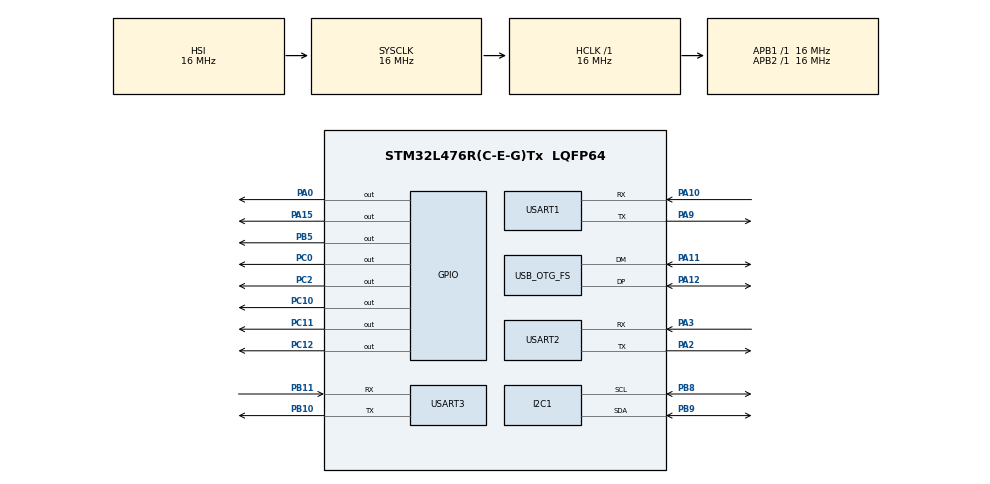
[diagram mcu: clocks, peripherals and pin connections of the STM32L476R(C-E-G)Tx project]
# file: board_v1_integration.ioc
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I2C1.Timing=0x00503D58
Mcu.Family=STM32L4
Mcu.Name=STM32L476R(C-E-G)Tx
Mcu.Package=LQFP64
NVIC.OTG_FS_IRQn=true\:0\:0\:false\:false\:true\:false\:true\:true
NVIC.PriorityGroup=NVIC_PRIORITYGROUP_4
NVIC.USART1_IRQn=true\:0\:0\:false\:false\:true\:true\:true\:true
NVIC.USART2_IRQn=true\:0\:0\:false\:false\:true\:true\:true\:true
NVIC.USART3_IRQn=true\:0\:0\:false\:false\:true\:true\:true\:true
PA0.Signal=GPIO_Output
PA10.Mode=Asynchronous
PA10.Signal=USART1_RX
PA11.Mode=Device_Only
PA11.Signal=USB_OTG_FS_DM
PA12.Mode=Device_Only
PA12.Signal=USB_OTG_FS_DP
PA13\ (JTMS-SWDIO).Mode=Serial_Wire
PA13\ (JTMS-SWDIO).Signal=SYS_JTMS-SWDIO
PA14\ (JTCK-SWCLK).Mode=Serial_Wire
PA14\ (JTCK-SWCLK).Signal=SYS_JTCK-SWCLK
PA15\ (JTDI).Signal=GPIO_Output
PA2.Mode=Asynchronous
PA2.Signal=USART2_TX
PA3.Mode=Asynchronous
PA3.Signal=USART2_RX
PA9.Mode=Asynchronous
PA9.Signal=USART1_TX
PB10.Mode=Asynchronous
PB10.Signal=USART3_TX
PB11.Mode=Asynchronous
PB11.Signal=USART3_RX
PB5.Signal=GPIO_Output
PB8.Mode=I2C
PB8.Signal=I2C1_SCL
PB9.Mode=I2C
PB9.Signal=I2C1_SDA
PC0.Signal=GPIO_Output
PC10.Signal=GPIO_Output
PC11.Signal=GPIO_Output
PC12.Signal=GPIO_Output
PC14-OSC32_IN\ (PC14).Mode=LSE-External-Oscillator
PC14-OSC32_IN\ (PC14).Signal=RCC_OSC32_IN
PC15-OSC32_OUT\ (PC15).Mode=LSE-External-Oscillator
PC15-OSC32_OUT\ (PC15).Signal=RCC_OSC32_OUT
PC2.Signal=GPIO_Output
ProjectManager.HeapSize=0x600
ProjectManager.StackSize=0x1000
ProjectManager.TargetToolchain=CMake
RCC.ADCFreq_Value=48000000
RCC.AHBFreq_Value=16000000
RCC.APB1Freq_Value=16000000
RCC.APB1TimFreq_Value=16000000
RCC.APB2Freq_Value=16000000
RCC.APB2TimFreq_Value=16000000
RCC.CK48CLockSelection=RCC_USBCLKSOURCE_MSI
RCC.CortexFreq_Value=16000000
RCC.HCLKFreq_Value=16000000
RCC.HSE_VALUE=8000000
RCC.HSI_VALUE=16000000
RCC.MSIClockRange=RCC_MSIRANGE_11
RCC.MSI_VALUE=48000000
RCC.PLLM=4
RCC.PLLN=24
RCC.PLLR=RCC_PLLR_DIV4
RCC.PLLSAI1N=24
RCC.PLLSAI2N=24
RCC.PLLSourceVirtual=RCC_PLLSOURCE_HSI
RCC.SYSCLKFreq_VALUE=16000000
RCC.SYSCLKSource=RCC_SYSCLKSOURCE_HSI
RCC.USBFreq_Value=48000000
RCC.VCOOutputFreq_Value=96000000
USART1.VirtualMode-Asynchronous=VM_ASYNC
USART2.VirtualMode-Asynchronous=VM_ASYNC
USART3.VirtualMode-Asynchronous=VM_ASYNC
USB_DEVICE.CLASS_NAME_FS=CDC
USB_DEVICE.VirtualMode=Cdc
USB_DEVICE.VirtualModeFS=Cdc_FS
USB_OTG_FS.VirtualMode=Device_Only
VP_USB_DEVICE_VS_USB_DEVICE_CDC_FS.Mode=CDC_FS
board=custom

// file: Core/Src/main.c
/* USER CODE BEGIN Header */
/**
  ******************************************************************************
- @file           : main.c
- @brief          : Firmware principal - USB CDC, I2C1 direto (BME280, DS3231)
-                   e MUX I2C 0x70 (2x MP2733, 2x MAX17048, 2x INA3221)
  ******************************************************************************
  */
/* USER CODE END Header */
#include "main.h"
#include "usb_device.h"
#include <stdio.h>
#include <string.h>

/* USER CODE BEGIN Includes */
#include "ina3221.h"
#include "max17048.h"
#include "mp2733.h"
#include "ds3231.h"
#include "bme280.h"
#include "usbd_cdc_if.h"
/*#include "telemetryType.h"*/
#include "dataReadying.h"
/* USER CODE END Includes */

/* USER CODE BEGIN PD */
#define BME_USE_UART        1

/* Acerto da hora do DS3231:
- 0 = nao acerta; so acerta com a hora da compilacao se OSF = 1
- 1 = acerta SEMPRE no boot com a data/hora da compilacao
- 2 = acerta SEMPRE no boot com os valores fixos abaixo */
#define DS_TIME_SOURCE      1

#define DS_FIXED_YEAR       2026
#define DS_FIXED_MONTH      11
#define DS_FIXED_DAY        8
#define DS_FIXED_HOUR       14
#define DS_FIXED_MIN        30
#define DS_FIXED_SEC        0

/* Enderecos I2C */
#define MUX_ADDR            (0x70)
#define INA_ADDR            (0x40)
#define INA_ADDR2           (0x41)

/* Canais mapeados no MUX */
#define CH_BAT1             0   /* MP1 (0x4B) + MAX1 (0x36) */
#define CH_BAT2             1   /* MP2 (0x4B) + MAX2 (0x36) */
#define CH_MP1              CH_BAT1
#define CH_MAX1             CH_BAT1
#define CH_MP2              CH_BAT2
#define CH_MAX2             CH_BAT2
#define CH_INA1             2   /* INA1 (0x40) */
#define CH_INA2             3   /* INA2 (0x41) */

/* Configuracao de corrente de carga/saida do MP2733 (REG05h - ICC[6:0]) */
#define MP2733_REG_ICHG     (0x05)
#define MP2733_ICHG_MASK    (0x7F)
#define MP2733_ICHG_1_0A    (0x19)  /* 25 * 40 mA = 1000 mA */

/* Limite de corrente de entrada (REG00h - IINLIM[5:0]) */
#define MP2733_REG_IINLIM   (0x00)
#define MP2733_IINLIM_MASK  (0x7F)
#define MP2733_IINLIM_1_5A  (0x1C)  /* 100 mA + 28 * 50 mA = 1500 mA */

#define RX_BUF_SIZE         64

/* LED verde de indicacao de boot (PB5) */
#define LED_VERDE_GPIO_Port GPIOB
#define LED_VERDE_Pin       GPIO_PIN_5
/* USER CODE END PD */

I2C_HandleTypeDef hi2c1;

UART_HandleTypeDef huart1;
UART_HandleTypeDef huart2;
UART_HandleTypeDef huart3;

/* USER CODE BEGIN PV */
/* Buffers UART */
uint8_t rx_u1[RX_BUF_SIZE];
char    msg_u1[RX_BUF_SIZE] = {0};
volatile uint8_t new_data_u1 = 0;

uint8_t rx_u2[RX_BUF_SIZE];
char    msg_u2[RX_BUF_SIZE] = {0};
volatile uint8_t new_data_u2 = 0;

uint8_t rx_u3[RX_BUF_SIZE];
char    msg_u3[RX_BUF_SIZE] = {0};
volatile uint8_t new_data_u3 = 0;

/* TTC / Telemetria */
telemetryFull t1; /* t2;
uint8_t buffer_envio[51];
uint8_t tamanho1, tamanho2; */

/* BME280 (barramento principal I2C1) */
BME280_t      bme;
BME280_Data_t bme_data;
BME280_Status bme_status = BME280_ERR_I2C;
uint8_t       bme_found  = 0;

/* Variaveis para Live Watch */
volatile float    dbg_temp_c      = 0.0f;
volatile float    dbg_press_hpa   = 0.0f;
volatile float    dbg_hum_pct     = 0.0f;
volatile uint32_t dbg_read_count  = 0;
volatile uint32_t dbg_error_count = 0;

/* DS3231 (barramento principal I2C1) */
DS3231_t      rtc;
DS3231_Time_t rtc_time;
int16_t       rtc_temp_centi = 0;
uint8_t       rtc_found      = 0;

/* MUX I2C e dispositivos downstream */
uint8_t mux_found = 0;

INA3221_Handle ina1;
INA3221_Handle ina2;
uint8_t ina1_ativo = 0;
uint8_t ina2_ativo = 0;

MP2733_HandleTypeDef mp1;
MP2733_HandleTypeDef mp2;
uint8_t mp1_ativo = 0;
uint8_t mp2_ativo = 0;

MAX17048_HandleTypeDef max1;
MAX17048_HandleTypeDef max2;
uint8_t max1_ativo = 0;
uint8_t max2_ativo = 0;
/* USER CODE END PV */

void SystemClock_Config(void);
static void MX_GPIO_Init(void);
static void MX_I2C1_Init(void);
static void MX_USART1_UART_Init(void);
static void MX_USART2_UART_Init(void);
static void MX_USART3_UART_Init(void);

/* USER CODE BEGIN PFP */
static void USB_Print(const char *text);

/* MUX e diagnostico I2C */
static HAL_StatusTypeDef MUX_Write(I2C_HandleTypeDef *hi2c, uint8_t data);
HAL_StatusTypeDef MUX_Read(I2C_HandleTypeDef *hi2c, uint8_t *out);
static HAL_StatusTypeDef MUX_SelectChannel(I2C_HandleTypeDef *hi2c, uint8_t channel);
static HAL_StatusTypeDef MUX_DisableAll(I2C_HandleTypeDef *hi2c);
static uint8_t MUX_Detect(I2C_HandleTypeDef *hi2c);
void MUX_ScanAll(I2C_HandleTypeDef *hi2c);
static void I2C1_PinReport(void);
static uint8_t I2C1_ScanBus(void);

/* Sensores diretos (I2C1) */
static uint8_t BME_Detect(void);
static uint8_t RTC_Setup(void);
static void RTC_ReadAndPrint(void);

/* Dispositivos via MUX */
static void MP2733_SetCustomCurrent(I2C_HandleTypeDef *hi2c, uint8_t reg_addr, uint8_t mask, uint8_t value);
static uint8_t MP2733_Setup(MP2733_HandleTypeDef *h, const char *nome);
static void MP2733_ReadAndPrint(MP2733_HandleTypeDef *h, const char *nome, uint8_t *status_out, uint8_t *fault_out);

static uint8_t MAX17048_Setup(MAX17048_HandleTypeDef *h, const char *nome);
static void MAX17048_ReadAndPrint(MAX17048_HandleTypeDef *h, const char *nome, uint16_t *vbat_mv_out, uint16_t *soc_out);

static uint8_t INA3221_SetupChannel(INA3221_Handle *h, uint8_t addr_7bit, const char *nome);
static void INA1_ReadAndPrint(INA3221_Handle *h);
static void INA2_ReadAndPrint(INA3221_Handle *h);

static void Telemetry_InitDefaults(void);
/* USER CODE END PFP */

/* USER CODE BEGIN 0 */
static void USB_Print(const char *text)
{
  uint16_t len = (uint16_t)strlen(text);
  uint32_t t0  = HAL_GetTick();

  while (CDC_Transmit_FS((uint8_t *)text, len) == USBD_BUSY) {
    if ((HAL_GetTick() - t0) > 20U) {
      return;
    }
  }
  HAL_Delay(5);
}

static HAL_StatusTypeDef MUX_Write(I2C_HandleTypeDef *hi2c, uint8_t data)
{
  char buf[80];
  HAL_StatusTypeDef r = HAL_I2C_Master_Transmit(hi2c, MUX_ADDR << 1, &data, 1, 100);
  if (r != HAL_OK) {
    snprintf(buf, sizeof(buf), "MUX falha escrita 0x%02X (err=0x%lX)\r\n",
             data, (unsigned long)HAL_I2C_GetError(hi2c));
    USB_Print(buf);
  }
  return r;
}

HAL_StatusTypeDef MUX_Read(I2C_HandleTypeDef *hi2c, uint8_t *out)
{
  char buf[80];
  HAL_StatusTypeDef r = HAL_I2C_Master_Receive(hi2c, MUX_ADDR << 1, out, 1, 100);
  if (r != HAL_OK) {
    snprintf(buf, sizeof(buf), "MUX falha leitura (err=0x%lX)\r\n",
             (unsigned long)HAL_I2C_GetError(hi2c));
    USB_Print(buf);
  }
  return r;
}

static HAL_StatusTypeDef MUX_SelectChannel(I2C_HandleTypeDef *hi2c, uint8_t channel)
{
  if (channel > 7U) {
    return HAL_ERROR;
  }
  return MUX_Write(hi2c, (uint8_t)(1U << channel));
}

static HAL_StatusTypeDef MUX_DisableAll(I2C_HandleTypeDef *hi2c)
{
  if (!mux_found) {
    return HAL_OK;
  }
  return MUX_Write(hi2c, 0x00U);
}

static uint8_t MUX_Detect(I2C_HandleTypeDef *hi2c)
{
  if (HAL_I2C_IsDeviceReady(hi2c, MUX_ADDR << 1, 3, 50) == HAL_OK) {
    USB_Print("MUX I2C encontrado em 0x70\r\n");
    return 1;
  }
  USB_Print("MUX I2C (0x70) nao respondeu\r\n");
  return 0;
}

void MUX_ScanAll(I2C_HandleTypeDef *hi2c)
{
  char buf[64];
  for (uint8_t ch = 0; ch < 8U; ch++) {
    if (MUX_SelectChannel(hi2c, ch) == HAL_OK) {
      snprintf(buf, sizeof(buf), "MUX CH%u -> ", (unsigned)ch);
      USB_Print(buf);
      I2C1_ScanBus();
    }
  }
  MUX_DisableAll(hi2c);
}
/* USER CODE END 0 */

int main(void)
{

  HAL_Init();

  /* USER CODE BEGIN Init */
  __HAL_RCC_PWR_CLK_ENABLE();
  HAL_PWR_EnableBkUpAccess();
  HAL_PWREx_EnableVddUSB();
  /* USER CODE END Init */

  SystemClock_Config();

  MX_GPIO_Init();
  MX_USB_DEVICE_Init();
  MX_I2C1_Init();
  MX_USART1_UART_Init();
  MX_USART2_UART_Init();
  MX_USART3_UART_Init();

  /* USER CODE BEGIN 2 */
  /* Pisca LED verde (PB5) ao ligar a placa (3 pulsos = 900 ms) */
  for (uint8_t i = 0; i < 3U; i++) {
    HAL_GPIO_WritePin(LED_VERDE_GPIO_Port, LED_VERDE_Pin, GPIO_PIN_SET);
    HAL_Delay(150);
    HAL_GPIO_WritePin(LED_VERDE_GPIO_Port, LED_VERDE_Pin, GPIO_PIN_RESET);
    HAL_Delay(150);
  }
  HAL_Delay(1100); /* Completa os 2000 ms para enumeracao da USB CDC */

  USB_Print("\r\n=== Sistema OBC Missao Hermes (I2C1 + MUX 0x70) ===\r\n");

  I2C1_PinReport();
  mux_found = MUX_Detect(&hi2c1);
  MUX_DisableAll(&hi2c1);

  /* Scan do barramento principal (esperado: 0x68 DS3231, 0x70 MUX, 0x76/0x77 BME280) */
  USB_Print("Scan I2C1 principal: ");
  I2C1_ScanBus();

  /* 1. Inicializa dispositivos diretos no I2C1 */
  bme_found = BME_Detect();
  if (bme_found) {
    if (bme.chip_id == BME280_CHIP_ID_BME280) {
      USB_Print("Sensor: BME280 (0x60)\r\n");
    } else {
      USB_Print("Sensor: BMP280 (0x58), sem umidade\r\n");
    }
  } else {
    USB_Print("BME280 nao encontrado\r\n");
  }

  rtc_found = RTC_Setup();

  /* 2. Inicializa dispositivos atras do MUX (0x70) */
  if (mux_found) {
    /* Canal 0: MP1 (0x4B) e MAX1 (0x36) */
    if (MUX_SelectChannel(&hi2c1, CH_BAT1) == HAL_OK) {
      mp1_ativo  = MP2733_Setup(&mp1, "MP1 (CH0)");
      max1_ativo = MAX17048_Setup(&max1, "MAX1 (CH0)");
    }

    /* Canal 1: MP2 (0x4B) e MAX2 (0x36) */
    if (MUX_SelectChannel(&hi2c1, CH_BAT2) == HAL_OK) {
      mp2_ativo  = MP2733_Setup(&mp2, "MP2 (CH1)");
      max2_ativo = MAX17048_Setup(&max2, "MAX2 (CH1)");
    }

    /* Canal 2: INA1 (0x40) */
    if (MUX_SelectChannel(&hi2c1, CH_INA1) == HAL_OK) {
      ina1_ativo = INA3221_SetupChannel(&ina1, INA_ADDR, "INA1 (CH2 - 0x40)");
    }

    /* Canal 3: INA2 (0x41) */
    if (MUX_SelectChannel(&hi2c1, CH_INA2) == HAL_OK) {
      ina2_ativo = INA3221_SetupChannel(&ina2, INA_ADDR2, "INA2 (CH3 - 0x41)");
    }

    /* Isola todos os canais do MUX ao fim do boot */
    MUX_DisableAll(&hi2c1);
  }

  /* Limpeza e ativacao das UARTs por interrupcao */
  __HAL_UART_CLEAR_OREFLAG(&huart1);
  __HAL_UART_CLEAR_FEFLAG(&huart1);
  __HAL_UART_CLEAR_NEFLAG(&huart1);
  HAL_UARTEx_ReceiveToIdle_IT(&huart1, rx_u1, RX_BUF_SIZE - 1);

  __HAL_UART_CLEAR_OREFLAG(&huart2);
  __HAL_UART_CLEAR_FEFLAG(&huart2);
  __HAL_UART_CLEAR_NEFLAG(&huart2);
  HAL_UARTEx_ReceiveToIdle_IT(&huart2, rx_u2, RX_BUF_SIZE - 1);

  __HAL_UART_CLEAR_OREFLAG(&huart3);
  __HAL_UART_CLEAR_FEFLAG(&huart3);
  __HAL_UART_CLEAR_NEFLAG(&huart3);
  HAL_UARTEx_ReceiveToIdle_IT(&huart3, rx_u3, RX_BUF_SIZE - 1);

  Telemetry_InitDefaults();
  /* USER CODE END 2 */

  /* Infinite loop */
  /* USER CODE BEGIN WHILE */
  while (1)
  {
    /* Garante MUX isolado antes de ler sensores diretos no I2C1 */
    MUX_DisableAll(&hi2c1);

    /* 1. DS3231 (RTC) */
    if (!rtc_found) {
      rtc_found = RTC_Setup();
    }
    if (rtc_found) {
      RTC_ReadAndPrint();
    } else {
      if (t1.segundo < 59) t1.segundo++;
      else t1.segundo = 0;
    }

    /* 2. BME280 */
    if (!bme_found) {
      bme_found = BME_Detect();
    } else {
      bme_status = BME280_ReadForced(&bme, &bme_data);
      if (bme_status == BME280_OK) {
        char buf[112];
        int32_t  t     = bme_data.temp_centi;
        uint32_t t_abs = (uint32_t)((t < 0) ? -t : t);
        uint32_t p     = bme_data.press_pa;
        uint32_t h     = bme_data.hum_centi;

        dbg_temp_c    = (float)bme_data.temp_centi / 100.0f;
        dbg_press_hpa = (float)bme_data.press_pa   / 100.0f;
        dbg_hum_pct   = (float)bme_data.hum_centi  / 100.0f;
        dbg_read_count++;

        t1.temperatura_externa = dbg_temp_c;

        HAL_GPIO_TogglePin(GPIOC, GPIO_PIN_10);

        snprintf(buf, sizeof(buf),
                 "BME280: T=%s%lu.%02lu C | P=%lu.%02lu hPa | UR=%lu.%02lu %%\r\n",
                 (t < 0) ? "-" : "",
                 (unsigned long)(t_abs / 100U), (unsigned long)(t_abs % 100U),
                 (unsigned long)(p / 100U),     (unsigned long)(p % 100U),
                 (unsigned long)(h / 100U),     (unsigned long)(h % 100U));
        USB_Print(buf);
      } else {
        dbg_error_count++;
        USB_Print("Erro na leitura do BME280\r\n");
        bme_found = 0;
      }
    }

    /* 3. Leituras via MUX (0x70) */
    if (!mux_found) {
      mux_found = MUX_Detect(&hi2c1);
    }

    if (mux_found) {
      /* Canal 0: Bateria 1 (MP2733 + MAX17048) */
      if ((mp1_ativo || max1_ativo) && MUX_SelectChannel(&hi2c1, CH_BAT1) == HAL_OK) {
        if (mp1_ativo) {
          MP2733_ReadAndPrint(&mp1, "MP1 - CH0", &t1.status_carregador_1, &t1.falha_carregador_1);
        }
        if (max1_ativo) {
          MAX17048_ReadAndPrint(&max1, "MAX1 - CH0", &t1.tensao_bateria_1, &t1.carga_bateria_1);
        }
      }

      /* Canal 1: Bateria 2 (MP2733 + MAX17048) */
      if ((mp2_ativo || max2_ativo) && MUX_SelectChannel(&hi2c1, CH_BAT2) == HAL_OK) {
        if (mp2_ativo) {
          MP2733_ReadAndPrint(&mp2, "MP2 - CH1", &t1.status_carregador_2, &t1.falha_carregador_2);
        }
        if (max2_ativo) {
          MAX17048_ReadAndPrint(&max2, "MAX2 - CH1", &t1.tensao_bateria_2, &t1.carga_bateria_2);
        }
      }

      /* Canal 2: INA1 (0x40 - Tensoes) */
      if (ina1_ativo && MUX_SelectChannel(&hi2c1, CH_INA1) == HAL_OK) {
        INA1_ReadAndPrint(&ina1);
      }

      /* Canal 3: INA2 (0x41 - Correntes e Tensao) */
      if (ina2_ativo && MUX_SelectChannel(&hi2c1, CH_INA2) == HAL_OK) {
        INA2_ReadAndPrint(&ina2);
      }

      /* Fecha todas as chaves do MUX entre amostras */
      MUX_DisableAll(&hi2c1);
    }

    /* 4. Empacotamento e verificacao de telemetria */
    /* tamanho1 = readyData(&t1, buffer_envio);
    tamanho2 = parseData(&t2, buffer_envio);

    if (t1.segundo % 15 == 0) {
      printTelemetry(&t2);
    } */

    /* 5. Tratamento das UARTs */
    if (new_data_u1) {
      new_data_u1 = 0;
      HAL_GPIO_WritePin(GPIOC, GPIO_PIN_0, GPIO_PIN_SET);
      USB_Print("UART1 RX: ");
      USB_Print(msg_u1);
    } else {
      HAL_GPIO_WritePin(GPIOC, GPIO_PIN_0, GPIO_PIN_RESET);
    }

    if (new_data_u2) {
      new_data_u2 = 0;
      HAL_GPIO_WritePin(GPIOA, GPIO_PIN_0, GPIO_PIN_SET);
      USB_Print("UART2 RX: ");
      USB_Print(msg_u2);
    } else {
      HAL_GPIO_WritePin(GPIOA, GPIO_PIN_0, GPIO_PIN_RESET);
    }

    if (new_data_u3) {
      new_data_u3 = 0;
      HAL_GPIO_WritePin(GPIOC, GPIO_PIN_2, GPIO_PIN_SET);
      USB_Print("UART3 RX: ");
      USB_Print(msg_u3);
    } else {
      HAL_GPIO_WritePin(GPIOC, GPIO_PIN_2, GPIO_PIN_RESET);
    }

    USB_Print("----------------------------\r\n");
    HAL_Delay(1000);
    /* USER CODE END WHILE */

  }
}

void SystemClock_Config(void)
{
  RCC_OscInitTypeDef RCC_OscInitStruct = {0};
  RCC_ClkInitTypeDef RCC_ClkInitStruct = {0};

  if (HAL_PWREx_ControlVoltageScaling(PWR_REGULATOR_VOLTAGE_SCALE1) != HAL_OK)
  {
    Error_Handler();
  }

  HAL_PWR_EnableBkUpAccess();
  __HAL_RCC_LSEDRIVE_CONFIG(RCC_LSEDRIVE_LOW);

  RCC_OscInitStruct.OscillatorType = RCC_OSCILLATORTYPE_HSI|RCC_OSCILLATORTYPE_LSE
                              |RCC_OSCILLATORTYPE_MSI;
  RCC_OscInitStruct.LSEState = RCC_LSE_ON;
  RCC_OscInitStruct.HSIState = RCC_HSI_ON;
  RCC_OscInitStruct.HSICalibrationValue = RCC_HSICALIBRATION_DEFAULT;
  RCC_OscInitStruct.MSIState = RCC_MSI_ON;
  RCC_OscInitStruct.MSICalibrationValue = 0;
  RCC_OscInitStruct.MSIClockRange = RCC_MSIRANGE_11;
  RCC_OscInitStruct.PLL.PLLState = RCC_PLL_NONE;
  if (HAL_RCC_OscConfig(&RCC_OscInitStruct) != HAL_OK)
  {
    Error_Handler();
  }

  RCC_ClkInitStruct.ClockType = RCC_CLOCKTYPE_HCLK|RCC_CLOCKTYPE_SYSCLK
                              |RCC_CLOCKTYPE_PCLK1|RCC_CLOCKTYPE_PCLK2;
  RCC_ClkInitStruct.SYSCLKSource = RCC_SYSCLKSOURCE_HSI;
  RCC_ClkInitStruct.AHBCLKDivider = RCC_SYSCLK_DIV1;
  RCC_ClkInitStruct.APB1CLKDivider = RCC_HCLK_DIV1;
  RCC_ClkInitStruct.APB2CLKDivider = RCC_HCLK_DIV1;

  if (HAL_RCC_ClockConfig(&RCC_ClkInitStruct, FLASH_LATENCY_0) != HAL_OK)
  {
    Error_Handler();
  }

  HAL_RCCEx_EnableMSIPLLMode();
}

static void MX_I2C1_Init(void)
{
  hi2c1.Instance = I2C1;
  hi2c1.Init.Timing = 0x00503D58;
  hi2c1.Init.OwnAddress1 = 0;
  hi2c1.Init.AddressingMode = I2C_ADDRESSINGMODE_7BIT;
  hi2c1.Init.DualAddressMode = I2C_DUALADDRESS_DISABLE;
  hi2c1.Init.OwnAddress2 = 0;
  hi2c1.Init.OwnAddress2Masks = I2C_OA2_NOMASK;
  hi2c1.Init.GeneralCallMode = I2C_GENERALCALL_DISABLE;
  hi2c1.Init.NoStretchMode = I2C_NOSTRETCH_DISABLE;
  if (HAL_I2C_Init(&hi2c1) != HAL_OK)
  {
    Error_Handler();
  }

  if (HAL_I2CEx_ConfigAnalogFilter(&hi2c1, I2C_ANALOGFILTER_ENABLE) != HAL_OK)
  {
    Error_Handler();
  }

  if (HAL_I2CEx_ConfigDigitalFilter(&hi2c1, 0) != HAL_OK)
  {
    Error_Handler();
  }
}

static void MX_USART1_UART_Init(void)
{
  huart1.Instance = USART1;
  huart1.Init.BaudRate = 115200;
  huart1.Init.WordLength = UART_WORDLENGTH_8B;
  huart1.Init.StopBits = UART_STOPBITS_1;
  huart1.Init.Parity = UART_PARITY_NONE;
  huart1.Init.Mode = UART_MODE_TX_RX;
  huart1.Init.HwFlowCtl = UART_HWCONTROL_NONE;
  huart1.Init.OverSampling = UART_OVERSAMPLING_16;
  huart1.Init.OneBitSampling = UART_ONE_BIT_SAMPLE_DISABLE;
  huart1.AdvancedInit.AdvFeatureInit = UART_ADVFEATURE_NO_INIT;
  if (HAL_UART_Init(&huart1) != HAL_OK)
  {
    Error_Handler();
  }
}

static void MX_USART2_UART_Init(void)
{
  huart2.Instance = USART2;
  huart2.Init.BaudRate = 115200;
  huart2.Init.WordLength = UART_WORDLENGTH_8B;
  huart2.Init.StopBits = UART_STOPBITS_1;
  huart2.Init.Parity = UART_PARITY_NONE;
  huart2.Init.Mode = UART_MODE_TX_RX;
  huart2.Init.HwFlowCtl = UART_HWCONTROL_NONE;
  huart2.Init.OverSampling = UART_OVERSAMPLING_16;
  huart2.Init.OneBitSampling = UART_ONE_BIT_SAMPLE_DISABLE;
  huart2.AdvancedInit.AdvFeatureInit = UART_ADVFEATURE_NO_INIT;
  if (HAL_UART_Init(&huart2) != HAL_OK)
  {
    Error_Handler();
  }
}

static void MX_USART3_UART_Init(void)
{
  huart3.Instance = USART3;
  huart3.Init.BaudRate = 115200;
  huart3.Init.WordLength = UART_WORDLENGTH_8B;
  huart3.Init.StopBits = UART_STOPBITS_1;
  huart3.Init.Parity = UART_PARITY_NONE;
  huart3.Init.Mode = UART_MODE_TX_RX;
  huart3.Init.HwFlowCtl = UART_HWCONTROL_NONE;
  huart3.Init.OverSampling = UART_OVERSAMPLING_16;
  huart3.Init.OneBitSampling = UART_ONE_BIT_SAMPLE_DISABLE;
  huart3.AdvancedInit.AdvFeatureInit = UART_ADVFEATURE_NO_INIT;
  if (HAL_UART_Init(&huart3) != HAL_OK)
  {
    Error_Handler();
  }
}

static void MX_GPIO_Init(void)
{
  GPIO_InitTypeDef GPIO_InitStruct = {0};

  __HAL_RCC_GPIOC_CLK_ENABLE();
  __HAL_RCC_GPIOA_CLK_ENABLE();
  __HAL_RCC_GPIOB_CLK_ENABLE();

  HAL_GPIO_WritePin(GPIOC, GPIO_PIN_0|GPIO_PIN_2|GPIO_PIN_10|GPIO_PIN_11
                          |GPIO_PIN_12, GPIO_PIN_RESET);
  HAL_GPIO_WritePin(GPIOA, GPIO_PIN_0|GPIO_PIN_15, GPIO_PIN_RESET);
  HAL_GPIO_WritePin(GPIOB, GPIO_PIN_5, GPIO_PIN_RESET);

  GPIO_InitStruct.Pin = GPIO_PIN_0|GPIO_PIN_2|GPIO_PIN_10|GPIO_PIN_11
                          |GPIO_PIN_12;
  GPIO_InitStruct.Mode = GPIO_MODE_OUTPUT_PP;
  GPIO_InitStruct.Pull = GPIO_NOPULL;
  GPIO_InitStruct.Speed = GPIO_SPEED_FREQ_LOW;
  HAL_GPIO_Init(GPIOC, &GPIO_InitStruct);

  GPIO_InitStruct.Pin = GPIO_PIN_0|GPIO_PIN_15;
  GPIO_InitStruct.Mode = GPIO_MODE_OUTPUT_PP;
  GPIO_InitStruct.Pull = GPIO_NOPULL;
  GPIO_InitStruct.Speed = GPIO_SPEED_FREQ_LOW;
  HAL_GPIO_Init(GPIOA, &GPIO_InitStruct);

  GPIO_InitStruct.Pin = GPIO_PIN_5;
  GPIO_InitStruct.Mode = GPIO_MODE_OUTPUT_PP;
  GPIO_InitStruct.Pull = GPIO_NOPULL;
  GPIO_InitStruct.Speed = GPIO_SPEED_FREQ_LOW;
  HAL_GPIO_Init(GPIOB, &GPIO_InitStruct);
}

/* USER CODE BEGIN 4 */

/* ---------------------------------- Diagnostico I2C ---------------------- */
static void I2C1_PinReport(void)
{
  static const char modes[4] = {'I', 'O', 'A', 'N'};
  char msg[128];
  int len = snprintf(msg, sizeof(msg), "Pinos GPIOB:");

  for (uint32_t pin = 6U; pin <= 9U; pin++) {
    uint32_t mode = (GPIOB->MODER >> (pin * 2U)) & 0x3U;
    uint32_t af   = (GPIOB->AFR[pin >> 3U] >> ((pin & 7U) * 4U)) & 0xFU;
    uint32_t lvl  = (GPIOB->IDR >> pin) & 1U;

    len += snprintf(msg + len, sizeof(msg) - (size_t)len, " PB%lu=%c",
                    (unsigned long)pin, modes[mode]);
    if (mode == 2U) {
      len += snprintf(msg + len, sizeof(msg) - (size_t)len, "(AF%lu)", (unsigned long)af);
    }
    len += snprintf(msg + len, sizeof(msg) - (size_t)len, "/%lu", (unsigned long)lvl);
  }
  snprintf(msg + len, sizeof(msg) - (size_t)len, " BUSY=%d\r\n",
           (I2C1->ISR & I2C_ISR_BUSY) ? 1 : 0);
  USB_Print(msg);
}

static uint8_t I2C1_ScanBus(void)
{
  char buf[16];
  uint8_t n = 0;

  for (uint8_t a = 0x08; a < 0x78; a++) {
    if (HAL_I2C_IsDeviceReady(&hi2c1, (uint16_t)(a << 1), 1, 5) == HAL_OK) {
      snprintf(buf, sizeof(buf), "0x%02X ", a);
      USB_Print(buf);
      n++;
    }
  }
  if (n == 0) {
    USB_Print("nenhum dispositivo");
  }
  USB_Print("\r\n");
  return n;
}

/* ---------------------------------- DS3231 ------------------------------- */
static uint8_t RTC_Setup(void)
{
  DS3231_Time_t t = {0};
  uint8_t osf = 0;
  uint8_t must_set = 0;

  if (DS3231_Init(&rtc, &hi2c1) != DS3231_OK) {
    USB_Print("DS3231 nao encontrado (0x68)\r\n");
    return 0;
  }
  USB_Print("DS3231 encontrado\r\n");

  if (DS3231_OscStopped(&rtc, &osf) != DS3231_OK) {
    return 0;
  }
  (void)osf;

#if DS_TIME_SOURCE == 1
  if (DS3231_FromCompileTime(&t, __DATE__, __TIME__) != DS3231_OK) {
    USB_Print("Falha ao ler data/hora da compilacao\r\n");
    return 0;
  }
  must_set = 1;
#elif DS_TIME_SOURCE == 2
  t.year  = DS_FIXED_YEAR;
  t.month = DS_FIXED_MONTH;
  t.day   = DS_FIXED_DAY;
  t.hour  = DS_FIXED_HOUR;
  t.min   = DS_FIXED_MIN;
  t.sec   = DS_FIXED_SEC;
  t.wday  = 0;
  must_set = 1;
#else
  if (osf) {
    if (DS3231_FromCompileTime(&t, __DATE__, __TIME__) == DS3231_OK) {
      must_set = 1;
    }
  }
#endif

  if (must_set) {
    if (DS3231_SetTime(&rtc, &t) != DS3231_OK) {
      USB_Print("Falha ao acertar hora do DS3231\r\n");
      return 0;
    }
    USB_Print("Hora do DS3231 acertada\r\n");
  }
  return 1;
}

static void RTC_ReadAndPrint(void)
{
  static const char *const wd[8] = {"???", "seg", "ter", "qua", "qui", "sex", "sab", "dom"};
  char buf[96];
  int16_t temp = 0;
  uint16_t temp_abs;

  if ((DS3231_GetTime(&rtc, &rtc_time) != DS3231_OK) ||
      (DS3231_GetTemperature(&rtc, &temp) != DS3231_OK)) {
    USB_Print("Erro ao ler o DS3231\r\n");
    rtc_found = 0;
    return;
  }

  /* Atualiza campos de data/hora da telemetria */
  t1.hora    = rtc_time.hour;
  t1.minuto  = rtc_time.min;
  t1.segundo = rtc_time.sec;
  t1.dia     = rtc_time.day;
  t1.mes     = rtc_time.month;
  t1.ano     = (uint8_t)(rtc_time.year % 100U);

  rtc_temp_centi = temp;
  temp_abs = (uint16_t)((temp < 0) ? -temp : temp);

  snprintf(buf, sizeof(buf),
           "RTC: %04u-%02u-%02u (%s) %02u:%02u:%02u | Temp RTC: %s%u.%02u C\r\n",
           (unsigned)rtc_time.year, (unsigned)rtc_time.month, (unsigned)rtc_time.day,
           wd[(rtc_time.wday >= 1U && rtc_time.wday <= 7U) ? rtc_time.wday : 0U],
           (unsigned)rtc_time.hour, (unsigned)rtc_time.min, (unsigned)rtc_time.sec,
           (temp < 0) ? "-" : "",
           (unsigned)(temp_abs / 100U), (unsigned)(temp_abs % 100U));
  USB_Print(buf);
}

/* ---------------------------------- BME280 ------------------------------- */
static uint8_t BME_Detect(void)
{
  bme_status = BME280_Init(&bme, &hi2c1, BME280_I2C_ADDR_LOW);
  if (bme_status == BME280_OK) {
    return 1;
  }
  bme_status = BME280_Init(&bme, &hi2c1, BME280_I2C_ADDR_HIGH);
  return (bme_status == BME280_OK) ? 1 : 0;
}

/* ---------------------------------- MP2733 (MUX) ------------------------- */
static void MP2733_SetCustomCurrent(I2C_HandleTypeDef *hi2c, uint8_t reg_addr, uint8_t mask, uint8_t value)
{
  uint8_t reg_val = 0;
  if (HAL_I2C_Mem_Read(hi2c, MP2733_ADDR << 1, reg_addr, I2C_MEMADD_SIZE_8BIT, &reg_val, 1, 100) == HAL_OK) {
    reg_val &= ~mask;
    reg_val |= (value & mask);
    HAL_I2C_Mem_Write(hi2c, MP2733_ADDR << 1, reg_addr, I2C_MEMADD_SIZE_8BIT, &reg_val, 1, 100);
  }
}

static uint8_t MP2733_Setup(MP2733_HandleTypeDef *h, const char *nome)
{
  char buf[96];
  uint8_t init_ok = MP2733_Init(h, &hi2c1);
  HAL_Delay(50);

  if (HAL_I2C_IsDeviceReady(&hi2c1, MP2733_ADDR << 1, 3, 100) != HAL_OK) {
    snprintf(buf, sizeof(buf), "%s -> Nao respondeu\r\n", nome);
    USB_Print(buf);
    return 0;
  }

  if (!MP2733_GetStatus(h)) {
    snprintf(buf, sizeof(buf), "%s -> Erro na comunicacao\r\n", nome);
    USB_Print(buf);
    return 0;
  }

  if (MP2733_WriteConfig(h)) {
    MP2733_SetCustomCurrent(&hi2c1, MP2733_REG_IINLIM, MP2733_IINLIM_MASK, MP2733_IINLIM_1_5A);
    MP2733_SetCustomCurrent(&hi2c1, MP2733_REG_ICHG, MP2733_ICHG_MASK, MP2733_ICHG_1_0A);
    snprintf(buf, sizeof(buf), "%s -> Configurado OK (Iout = 1.0 A)\r\n", nome);
    USB_Print(buf);
    return init_ok ? 1 : 0;
  }

  snprintf(buf, sizeof(buf), "%s -> Erro na configuracao\r\n", nome);
  USB_Print(buf);
  return 0;
}

static void MP2733_ReadAndPrint(MP2733_HandleTypeDef *h, const char *nome, uint8_t *status_out, uint8_t *fault_out)
{
  char buf[112];
  uint8_t reg00 = 0, reg05 = 0;

  /* Reaplica limites para evitar reset pelo watchdog do MP2733 */
  MP2733_SetCustomCurrent(&hi2c1, MP2733_REG_IINLIM, MP2733_IINLIM_MASK, MP2733_IINLIM_1_5A);
  MP2733_SetCustomCurrent(&hi2c1, MP2733_REG_ICHG, MP2733_ICHG_MASK, MP2733_ICHG_1_0A);

  HAL_I2C_Mem_Read(&hi2c1, MP2733_ADDR << 1, 0x00, I2C_MEMADD_SIZE_8BIT, &reg00, 1, 100);
  HAL_I2C_Mem_Read(&hi2c1, MP2733_ADDR << 1, 0x05, I2C_MEMADD_SIZE_8BIT, &reg05, 1, 100);

  uint16_t iin_lim_ma = 100U + ((reg00 & 0x3FU) * 50U);
  uint16_t ichg_ma    = (reg05 & 0x7FU) * 40U;

  snprintf(buf, sizeof(buf), "[%s] IinLim: %u mA (0x%02X) | Ichg: %u mA (0x%02X)\r\n",
           nome, iin_lim_ma, reg00, ichg_ma, reg05);
  USB_Print(buf);

  uint8_t st = MP2733_GetStatus(h);
  uint8_t fl = MP2733_GetFault(h);

  if (status_out != NULL) *status_out = st;
  if (fault_out  != NULL) *fault_out  = fl;
}

/* ---------------------------------- MAX17048 (MUX) ----------------------- */
static uint8_t MAX17048_Setup(MAX17048_HandleTypeDef *h, const char *nome)
{
  char buf[96];

  if (HAL_I2C_IsDeviceReady(&hi2c1, MAX17048_I2C_ADDR_8BIT, 3, 100) != HAL_OK) {
    snprintf(buf, sizeof(buf), "%s -> Nao respondeu (verifique bateria)\r\n", nome);
    USB_Print(buf);
    return 0;
  }

  HAL_Delay(10);
  if (MAX17048_Init(h, &hi2c1) != HAL_OK) {
    snprintf(buf, sizeof(buf), "%s -> Falha ao inicializar\r\n", nome);
    USB_Print(buf);
    return 0;
  }

  uint16_t version = 0;
  if (MAX17048_ReadVersion(h, &version) != HAL_OK) {
    snprintf(buf, sizeof(buf), "%s -> Falha ao ler VERSION (0x08)\r\n", nome);
    USB_Print(buf);
    return 0;
  }

  snprintf(buf, sizeof(buf), "%s -> Configurado OK (Ver: 0x%04X)\r\n", nome, version);
  USB_Print(buf);
  return 1;
}

static void MAX17048_ReadAndPrint(MAX17048_HandleTypeDef *h, const char *nome, uint16_t *vbat_mv_out, uint16_t *soc_out)
{
  char buf[96];
  float soc  = 0.0f;
  float vbat = 0.0f;

  HAL_StatusTypeDef err_soc  = MAX17048_GetSOC(h, &soc);
  HAL_StatusTypeDef err_vbat = MAX17048_GetVoltage(h, &vbat);

  if (err_soc == HAL_OK && err_vbat == HAL_OK) {
    int32_t soc_centi = (int32_t)(soc * 100.0f + 0.5f);
    int32_t vbat_mv   = (int32_t)(vbat * 1000.0f + 0.5f);

    if (vbat_mv_out != NULL && vbat_mv >= 0) {
      *vbat_mv_out = (uint16_t)vbat_mv; /* Tensao em mV */
    }
    if (soc_out != NULL && soc >= 0.0f) {
      *soc_out = (uint16_t)(soc + 0.5f);
    }

    snprintf(buf, sizeof(buf), "[%s] SOC: %ld.%02ld%% | Vbat: %ld.%03ld V\r\n",
             nome,
             (long)(soc_centi / 100), (long)(soc_centi % 100),
             (long)(vbat_mv / 1000),  (long)(vbat_mv % 1000));
    USB_Print(buf);
  } else {
    snprintf(buf, sizeof(buf), "[%s] Erro leitura I2C (SOC=%d, Vbat=%d)\r\n",
             nome, (int)err_soc, (int)err_vbat);
    USB_Print(buf);
  }
}

/* ---------------------------------- INA3221 (MUX) ------------------------ */
static uint8_t INA3221_SetupChannel(INA3221_Handle *h, uint8_t addr_7bit, const char *nome)
{
  char buf[96];

  if (HAL_I2C_IsDeviceReady(&hi2c1, (uint16_t)(addr_7bit << 1), 2, 50) != HAL_OK) {
    snprintf(buf, sizeof(buf), "%s -> Nao respondeu\r\n", nome);
    USB_Print(buf);
    return 0;
  }

  INA3221_init(h, &hi2c1, (INA3221_Addr)addr_7bit, 200u);
  INA3221_set_cfg(h, INA3221_CFG_RESET);
  HAL_Delay(10);

  if (INA3221_default_config(h) == INA3221_OK) {
    snprintf(buf, sizeof(buf), "%s -> Configurado OK\r\n", nome);
    USB_Print(buf);
    return 1;
  }

  snprintf(buf, sizeof(buf), "%s -> Falha na configuracao\r\n", nome);
  USB_Print(buf);
  return 0;
}

/* INA1 (0x40 - MUX CH2): le tensao nos 3 canais */
static void INA1_ReadAndPrint(INA3221_Handle *h)
{
  static const INA3221_Chan chans[3] = { INA3221_CHAN_1, INA3221_CHAN_2, INA3221_CHAN_3 };
  float tensao[3] = { 0.0f, 0.0f, 0.0f };
  int32_t v_mv[3] = { 0, 0, 0 };
  uint32_t v_abs[3] = { 0, 0, 0 };
  char buf[112];

  for (uint8_t i = 0; i < 3U; i++) {
    if (INA3221_get_bus_voltage(h, chans[i], &tensao[i]) != INA3221_OK) {
      snprintf(buf, sizeof(buf), "INA1 (0x40) [CH%u] -> Erro de leitura I2C\r\n", (unsigned)(i + 1U));
      USB_Print(buf);
      return;
    }
    v_mv[i]  = (int32_t)(tensao[i] * 1000.0f + ((tensao[i] >= 0.0f) ? 0.5f : -0.5f));
    v_abs[i] = (uint32_t)((v_mv[i] < 0) ? -v_mv[i] : v_mv[i]);
  }

  /* Mapeamento para telemetria (ajuste conforme os barramentos fisicos da placa) */
  t1.tensao_13v8 = tensao[0];
  t1.tensao_5v   = tensao[1];

  snprintf(buf, sizeof(buf),
           "INA1 (0x40) -> V1: %s%lu.%03lu V | V2: %s%lu.%03lu V | V3: %s%lu.%03lu V\r\n",
           (v_mv[0] < 0) ? "-" : "", (unsigned long)(v_abs[0] / 1000U), (unsigned long)(v_abs[0] % 1000U),
           (v_mv[1] < 0) ? "-" : "", (unsigned long)(v_abs[1] / 1000U), (unsigned long)(v_abs[1] % 1000U),
           (v_mv[2] < 0) ? "-" : "", (unsigned long)(v_abs[2] / 1000U), (unsigned long)(v_abs[2] % 1000U));
  USB_Print(buf);
}

/* INA2 (0x41 - MUX CH3): le corrente nos canais 1 e 2, e tensao no canal 3 */
static void INA2_ReadAndPrint(INA3221_Handle *h)
{
  float corrente1 = 0.0f;
  float corrente2 = 0.0f;
  float tensao3   = 0.0f;
  char buf[112];

  INA3221_Error err_i1 = INA3221_get_shunt_current(h, INA3221_CHAN_1, &corrente1);
  INA3221_Error err_i2 = INA3221_get_shunt_current(h, INA3221_CHAN_2, &corrente2);
  INA3221_Error err_v3 = INA3221_get_bus_voltage(h, INA3221_CHAN_3, &tensao3);

  if (err_i1 == INA3221_OK && err_i2 == INA3221_OK && err_v3 == INA3221_OK) {
    int32_t  i1_centi = (int32_t)(corrente1 * 100.0f + ((corrente1 >= 0.0f) ? 0.5f : -0.5f));
    uint32_t i1_abs   = (uint32_t)((i1_centi < 0) ? -i1_centi : i1_centi);

    int32_t  i2_centi = (int32_t)(corrente2 * 100.0f + ((corrente2 >= 0.0f) ? 0.5f : -0.5f));
    uint32_t i2_abs   = (uint32_t)((i2_centi < 0) ? -i2_centi : i2_centi);

    int32_t  v3_mv    = (int32_t)(tensao3 * 1000.0f + ((tensao3 >= 0.0f) ? 0.5f : -0.5f));
    uint32_t v3_abs   = (uint32_t)((v3_mv < 0) ? -v3_mv : v3_mv);

    /* Mapeamento para telemetria (corrente em A caso corrente1/2 esteja em mA) */
    t1.corrente_13v8 = corrente1 / 1000.0f;
    t1.corrente_5v   = corrente2 / 1000.0f;

    snprintf(buf, sizeof(buf),
             "INA2 (0x41) -> I1: %s%lu.%02lu mA | I2: %s%lu.%02lu mA | V3: %s%lu.%03lu V\r\n",
             (i1_centi < 0) ? "-" : "", (unsigned long)(i1_abs / 100U), (unsigned long)(i1_abs % 100U),
             (i2_centi < 0) ? "-" : "", (unsigned long)(i2_abs / 100U), (unsigned long)(i2_abs % 100U),
             (v3_mv < 0)    ? "-" : "", (unsigned long)(v3_abs / 1000U), (unsigned long)(v3_abs % 1000U));
    USB_Print(buf);
  } else {
    USB_Print("INA2 (0x41) -> Erro de leitura I2C\r\n");
  }
}

/* ---------------------------------- Telemetria --------------------------- */
static void Telemetry_InitDefaults(void)
{
  memset(&t1, 0, sizeof(t1));

  t1.hora    = 9;
  t1.minuto  = 57;
  t1.segundo = 14;
  t1.dia     = 18;
  t1.mes     = 5;
  t1.ano     = 26;

  t1.temperatura_bateria = 21.5763f;
  t1.temperatura_externa = -19.3462f;
  t1.deploy_antena       = 15;

  t1.tensao_13v8   = 12.5342f;
  t1.tensao_5v     = 4.987f;
  t1.corrente_13v8 = 1.320f;
  t1.corrente_5v   = 0.874f;

  t1.tensao_painel_solar_1 = 5.120f;
  t1.tensao_painel_solar_2 = 4.980f;
  t1.tensao_painel_solar_3 = 5.054f;
  t1.tensao_painel_solar_4 = 4.763f;

  t1.status_carregador_1 = 0;
  t1.status_carregador_2 = 0;
  t1.falha_carregador_1  = 0;
  t1.falha_carregador_2  = 0;

  t1.adc_tensao_sistema_1   = 210;
  t1.adc_tensao_sistema_2   = 208;
  t1.adc_tensao_ntc_1       = 97;
  t1.adc_tensao_ntc_2       = 102;
  t1.adc_corrente_carga_1   = 134;
  t1.adc_corrente_carga_2   = 129;
  t1.adc_corrente_sistema_1 = 88;
  t1.adc_corrente_sistema_2 = 91;

  t1.tensao_bateria_1              = 0;
  t1.tensao_bateria_2              = 0;
  t1.carga_bateria_1               = 0;
  t1.carga_bateria_2               = 0;
  t1.taxa_carga_descarga_bateria_1 = 150;
  t1.taxa_carga_descarga_bateria_2 = -320;
}

/* ---------------------------------- UART Callbacks ----------------------- */
int __io_putchar(int ch)
{
  HAL_UART_Transmit(&huart2, (uint8_t *)&ch, 1, HAL_MAX_DELAY);
  return ch;
}

void HAL_UARTEx_RxEventCallback(UART_HandleTypeDef *huart, uint16_t Size)
{
  if (Size >= RX_BUF_SIZE) {
    Size = RX_BUF_SIZE - 1;
  }

  if (huart->Instance == USART1) {
    memcpy(msg_u1, rx_u1, Size);
    msg_u1[Size] = '\0';
    new_data_u1 = 1;
    HAL_UARTEx_ReceiveToIdle_IT(&huart1, rx_u1, RX_BUF_SIZE - 1);
  } else if (huart->Instance == USART2) {
    memcpy(msg_u2, rx_u2, Size);
    msg_u2[Size] = '\0';
    new_data_u2 = 1;
    HAL_UARTEx_ReceiveToIdle_IT(&huart2, rx_u2, RX_BUF_SIZE - 1);
  } else if (huart->Instance == USART3) {
    memcpy(msg_u3, rx_u3, Size);
    msg_u3[Size] = '\0';
    new_data_u3 = 1;
    HAL_UARTEx_ReceiveToIdle_IT(&huart3, rx_u3, RX_BUF_SIZE - 1);
  }
}

void HAL_UART_ErrorCallback(UART_HandleTypeDef *huart)
{
  __HAL_UART_CLEAR_OREFLAG(huart);
  __HAL_UART_CLEAR_FEFLAG(huart);
  __HAL_UART_CLEAR_NEFLAG(huart);

  if (huart->Instance == USART1) {
    HAL_UARTEx_ReceiveToIdle_IT(&huart1, rx_u1, RX_BUF_SIZE - 1);
  } else if (huart->Instance == USART2) {
    HAL_UARTEx_ReceiveToIdle_IT(&huart2, rx_u2, RX_BUF_SIZE - 1);
  } else if (huart->Instance == USART3) {
    HAL_UARTEx_ReceiveToIdle_IT(&huart3, rx_u3, RX_BUF_SIZE - 1);
  }
}
/* USER CODE END 4 */

void Error_Handler(void)
{
  __disable_irq();
  while (1)
  {
  }
}
